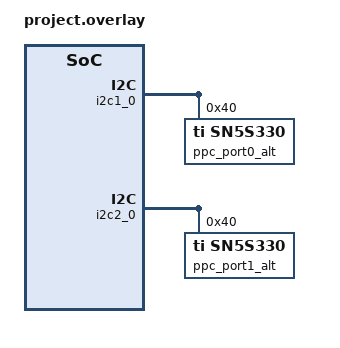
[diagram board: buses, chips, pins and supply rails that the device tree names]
/* Copyright 2022 The ChromiumOS Authors
 * Use of this source code is governed by a BSD-style license that can be
 * found in the LICENSE file.
 */

/* Herobrine program common DTS includes */
#include "../adc.dtsi"
#include "../common.dtsi"
#include "../i2c.dtsi"
#include "../keyboard.dtsi"
#include "../default_gpio_pinctrl.dtsi"
#include "../display.dtsi"
#include "../switchcap.dtsi"
#include "../usbc.dtsi"

/* Evoker project DTS includes*/
#include "gpio.dtsi"
#include "led_pins.dtsi"
#include "led_policy.dtsi"
#include "motionsense.dtsi"

/* evoker overrides follow... */
/* battery overrides */
/ {
	batteries {
		default_battery: pc_vp_bp153 {
			compatible = "smp,pc-vp-bp153", "battery-smart";
		};
		ap16l5j {
			compatible = "panasonic,ap16l5j", "battery-smart";
		};
	};

};

/* i2c overrides */
&i2c1_0 {
	ppc_port0_alt: sn5s330@40 {
		compatible = "ti,sn5s330";
		status = "okay";
		reg = <0x40>;
	};
};

&i2c2_0 {
	ppc_port1_alt: sn5s330@40 {
		compatible = "ti,sn5s330";
		status = "okay";
		reg = <0x40>;
	};
};


/ {
	aliases {
		int-wp = &int_wp_l;
	};

	gpio-interrupts {
		compatible = "cros-ec,gpio-interrupts";

		int_ac_present: ac_present {
			irq-pin = <&gpio_chg_acok_od>;
			flags = <GPIO_INT_EDGE_BOTH>;
			handler = "extpower_interrupt";
		};
		int_lid_open: lid_open {
			irq-pin = <&gpio_lid_open_ec>;
			flags = <GPIO_INT_EDGE_BOTH>;
			handler = "lid_interrupt";
		};
		int_wp_l: wp_l {
			irq-pin = <&gpio_ec_wp_odl>;
			flags = <GPIO_INT_EDGE_BOTH>;
			handler = "switch_interrupt";
		};
		int_power_button: power_button {
			irq-pin = <&gpio_ec_pwr_btn_odl>;
			flags = <GPIO_INT_EDGE_BOTH>;
			handler = "power_button_interrupt";
		};
		int_volume_up: volume_up {
			irq-pin = <&gpio_ec_volup_btn_odl>;
			flags = <GPIO_INT_EDGE_BOTH>;
			handler = "button_interrupt";
		};
		int_volume_down: volume_down {
			irq-pin = <&gpio_ec_voldn_btn_odl>;
			flags = <GPIO_INT_EDGE_BOTH>;
			handler = "button_interrupt";
		};
		int_ap_rst: ap_rst {
			irq-pin = <&gpio_ap_rst_l>;
			flags = <GPIO_INT_EDGE_BOTH>;
			handler = "chipset_ap_rst_interrupt";
		};
		int_ap_suspend: ap_suspend {
			irq-pin = <&gpio_ap_suspend>;
			flags = <GPIO_INT_EDGE_BOTH>;
			handler = "power_signal_interrupt";
		};
		int_power_good: power_good {
			irq-pin = <&gpio_mb_power_good>;
			flags = <GPIO_INT_EDGE_BOTH>;
			handler = "power_signal_interrupt";
		};
		int_ps_hold: ps_hold {
			irq-pin = <&gpio_ps_hold>;
			flags = <GPIO_INT_EDGE_BOTH>;
			handler = "power_signal_interrupt";
		};
		int_warm_reset: warm_reset {
			irq-pin = <&gpio_warm_reset_l>;
			flags = <GPIO_INT_EDGE_BOTH>;
			handler = "power_signal_interrupt";
		};
		int_usb_c0_pd: usb_c0_pd {
			irq-pin = <&gpio_usb_c0_pd_int_odl>;
			flags = <GPIO_INT_EDGE_FALLING>;
			handler = "tcpc_alert_event";
		};
		int_usb_c1_pd: usb_c1_pd {
			irq-pin = <&gpio_usb_c1_pd_int_odl>;
			flags = <GPIO_INT_EDGE_FALLING>;
			handler = "tcpc_alert_event";
		};
		int_usb_c0_swctl: usb_c0_swctl {
			irq-pin = <&gpio_usb_c0_swctl_int_odl>;
			flags = <GPIO_INT_EDGE_FALLING>;
			handler = "ppc_interrupt";
		};
		int_usb_c1_swctl: usb_c1_swctl {
			irq-pin = <&gpio_usb_c1_swctl_int_odl>;
			flags = <GPIO_INT_EDGE_FALLING>;
			handler = "ppc_interrupt";
		};
		int_usb_c0_bc12: usb_c0_bc12 {
			irq-pin = <&gpio_usb_c0_bc12_int_l>;
			flags = <GPIO_INT_EDGE_FALLING>;
			handler = "usb0_evt";
		};
		int_usb_c1_bc12: usb_c1_bc12 {
			irq-pin = <&gpio_usb_c1_bc12_int_l>;
			flags = <GPIO_INT_EDGE_FALLING>;
			handler = "usb1_evt";
		};
		int_accel_gyro: accel_gyro {
			irq-pin = <&gpio_accel_gyro_int_l>;
			flags = <GPIO_INT_EDGE_FALLING>;
			handler = "bmi260_interrupt";
		};
		int_tablet_mode: tablet_mode {
			irq-pin = <&gpio_tablet_mode_l>;
			flags = <GPIO_INT_EDGE_BOTH>;
			handler = "gmr_tablet_switch_isr";
		};
	};
};
